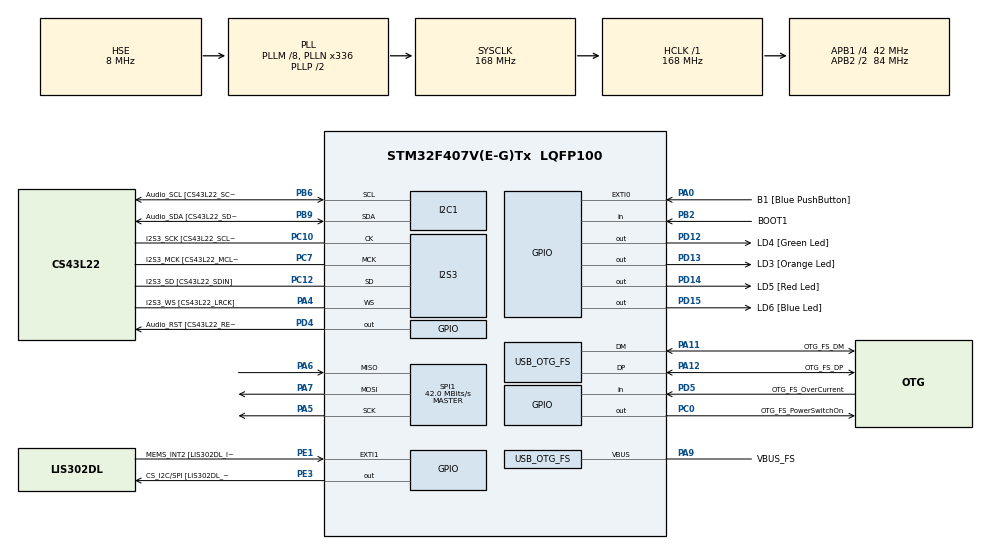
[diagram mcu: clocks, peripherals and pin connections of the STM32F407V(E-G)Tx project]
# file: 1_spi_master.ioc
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I2S3.AudioFreq-Half_Duplex_Master=I2S_AUDIOFREQ_96K
I2S3.ErrorAudioFreq=-2.34 %
I2S3.ErrorAudioFreq-Half_Duplex_Master=0.8 %
I2S3.FullDuplexMode=I2S_FULLDUPLEXMODE_DISABLE
I2S3.Instance=SPI$Index
I2S3.RealAudioFreq=93.75 KHz
I2S3.RealAudioFreq-Half_Duplex_Master=96.774 KHz
I2S3.VirtualMode=I2S_MODE_MASTER
Mcu.Family=STM32F4
Mcu.Name=STM32F407V(E-G)Tx
Mcu.Package=LQFP100
NVIC.OTG_FS_IRQn=true\:0\:0\:false\:false\:true\:true\:true
NVIC.PriorityGroup=NVIC_PRIORITYGROUP_0
PA0-WKUP.GPIO_Label=B1 [Blue PushButton]
PA0-WKUP.GPIO_ModeDefaultEXTI=GPIO_MODE_EVT_RISING
PA0-WKUP.GPIO_PuPd=GPIO_NOPULL
PA0-WKUP.Signal=GPXTI0
PA10.GPIO_Label=OTG_FS_ID
PA10.GPIO_Mode=GPIO_MODE_AF_PP
PA10.GPIO_PuPd=GPIO_NOPULL
PA10.GPIO_Speed=GPIO_SPEED_FREQ_LOW
PA10.Signal=USB_OTG_FS_ID
PA11.GPIO_Label=OTG_FS_DM
PA11.GPIO_Mode=GPIO_MODE_AF_PP
PA11.GPIO_PuPd=GPIO_NOPULL
PA11.GPIO_Speed=GPIO_SPEED_FREQ_LOW
PA11.Mode=Host_Only
PA11.Signal=USB_OTG_FS_DM
PA12.GPIO_Label=OTG_FS_DP
PA12.GPIO_Mode=GPIO_MODE_AF_PP
PA12.GPIO_PuPd=GPIO_NOPULL
PA12.GPIO_Speed=GPIO_SPEED_FREQ_LOW
PA12.Mode=Host_Only
PA12.Signal=USB_OTG_FS_DP
PA13.GPIO_Label=SWDIO
PA13.Mode=Serial_Wire
PA13.Signal=SYS_JTMS-SWDIO
PA14.GPIO_Label=SWCLK
PA14.Mode=Serial_Wire
PA14.Signal=SYS_JTCK-SWCLK
PA4.GPIO_Label=I2S3_WS [CS43L22_LRCK]
PA4.GPIO_Mode=GPIO_MODE_AF_PP
PA4.GPIO_PuPd=GPIO_NOPULL
PA4.GPIO_Speed=GPIO_SPEED_FREQ_LOW
PA4.Mode=Half_Duplex_Master
PA4.Signal=I2S3_WS
PA5.Mode=Full_Duplex_Master
PA5.Signal=SPI1_SCK
PA6.Mode=Full_Duplex_Master
PA6.Signal=SPI1_MISO
PA7.Mode=Full_Duplex_Master
PA7.Signal=SPI1_MOSI
PA9.GPIO_Label=VBUS_FS
PA9.GPIO_Mode=GPIO_MODE_INPUT
PA9.GPIO_PuPd=GPIO_NOPULL
PA9.Mode=Activate_VBUS
PA9.Signal=USB_OTG_FS_VBUS
PB10.GPIO_Label=CLK_IN [MP45DT02_CLK]
PB10.GPIO_Mode=GPIO_MODE_AF_PP
PB10.GPIO_PuPd=GPIO_NOPULL
PB10.GPIO_Speed=GPIO_SPEED_FREQ_LOW
PB10.Signal=I2S2_CK
PB2.GPIO_Label=BOOT1
PB2.GPIO_Mode=GPIO_MODE_INPUT
PB2.GPIO_PuPd=GPIO_NOPULL
PB2.Signal=GPIO_Input
PB3.GPIO_Label=SWO
PB3.Signal=SYS_JTDO-SWO
PB6.GPIO_Label=Audio_SCL [CS43L22_SCL]
PB6.GPIO_Mode=GPIO_MODE_AF_OD
PB6.GPIO_PuPd=GPIO_NOPULL
PB6.GPIO_Speed=GPIO_SPEED_FREQ_LOW
PB6.Mode=I2C
PB6.Signal=I2C1_SCL
PB9.GPIO_Label=Audio_SDA [CS43L22_SDA]
PB9.GPIO_Mode=GPIO_MODE_AF_OD
PB9.GPIO_PuPd=GPIO_NOPULL
PB9.GPIO_Speed=GPIO_SPEED_FREQ_LOW
PB9.Mode=I2C
PB9.Signal=I2C1_SDA
PC0.GPIO_Label=OTG_FS_PowerSwitchOn
PC0.GPIO_PuPd=GPIO_NOPULL
PC0.GPIO_Speed=GPIO_SPEED_FREQ_LOW
PC0.PinState=GPIO_PIN_SET
PC0.Signal=GPIO_Output
PC10.GPIO_Label=I2S3_SCK [CS43L22_SCLK]
PC10.GPIO_Mode=GPIO_MODE_AF_PP
PC10.GPIO_PuPd=GPIO_NOPULL
PC10.GPIO_Speed=GPIO_SPEED_FREQ_LOW
PC10.Mode=Half_Duplex_Master
PC10.Signal=I2S3_CK
PC12.GPIO_Label=I2S3_SD [CS43L22_SDIN]
PC12.GPIO_Mode=GPIO_MODE_AF_PP
PC12.GPIO_PuPd=GPIO_NOPULL
PC12.GPIO_Speed=GPIO_SPEED_FREQ_LOW
PC12.Mode=Half_Duplex_Master
PC12.Signal=I2S3_SD
PC14-OSC32_IN.GPIO_Label=PC14-OSC32_IN
PC14-OSC32_IN.Mode=LSE-External-Oscillator
PC14-OSC32_IN.Signal=RCC_OSC32_IN
PC15-OSC32_OUT.GPIO_Label=PC15-OSC32_OUT
PC15-OSC32_OUT.Mode=LSE-External-Oscillator
PC15-OSC32_OUT.Signal=RCC_OSC32_OUT
PC3.GPIO_Label=PDM_OUT [MP45DT02_DOUT]
PC3.GPIO_Mode=GPIO_MODE_AF_PP
PC3.GPIO_PuPd=GPIO_NOPULL
PC3.GPIO_Speed=GPIO_SPEED_FREQ_LOW
PC3.Signal=I2S2_SD
PC7.GPIO_Label=I2S3_MCK [CS43L22_MCLK]
PC7.GPIO_Mode=GPIO_MODE_AF_PP
PC7.GPIO_PuPd=GPIO_NOPULL
PC7.GPIO_Speed=GPIO_SPEED_FREQ_LOW
PC7.Mode=Master_Clock_Activated
PC7.Signal=I2S3_MCK
PD12.GPIO_Label=LD4 [Green Led]
PD12.GPIO_PuPd=GPIO_NOPULL
PD12.GPIO_Speed=GPIO_SPEED_FREQ_LOW
PD12.Signal=GPIO_Output
PD13.GPIO_Label=LD3 [Orange Led]
PD13.GPIO_PuPd=GPIO_NOPULL
PD13.GPIO_Speed=GPIO_SPEED_FREQ_LOW
PD13.Signal=GPIO_Output
PD14.GPIO_Label=LD5 [Red Led]
PD14.GPIO_PuPd=GPIO_NOPULL
PD14.GPIO_Speed=GPIO_SPEED_FREQ_LOW
PD14.Signal=GPIO_Output
PD15.GPIO_Label=LD6 [Blue Led]
PD15.GPIO_PuPd=GPIO_NOPULL
PD15.GPIO_Speed=GPIO_SPEED_FREQ_LOW
PD15.Signal=GPIO_Output
PD4.GPIO_Label=Audio_RST [CS43L22_RESET]
PD4.GPIO_PuPd=GPIO_NOPULL
PD4.GPIO_Speed=GPIO_SPEED_FREQ_LOW
PD4.Signal=GPIO_Output
PD5.GPIO_Label=OTG_FS_OverCurrent
PD5.GPIO_Mode=GPIO_MODE_INPUT
PD5.GPIO_PuPd=GPIO_NOPULL
PD5.Signal=GPIO_Input
PE1.GPIO_Label=MEMS_INT2 [LIS302DL_INT2]
PE1.GPIO_ModeDefaultEXTI=GPIO_MODE_EVT_RISING
PE1.GPIO_PuPd=GPIO_NOPULL
PE1.Signal=GPXTI1
PE3.GPIO_Label=CS_I2C/SPI [LIS302DL_CS_I2C/SPI]
PE3.GPIO_PuPd=GPIO_NOPULL
PE3.GPIO_Speed=GPIO_SPEED_FREQ_LOW
PE3.Signal=GPIO_Output
PH0-OSC_IN.GPIO_Label=PH0-OSC_IN
PH0-OSC_IN.Mode=HSE-External-Oscillator
PH0-OSC_IN.Signal=RCC_OSC_IN
PH1-OSC_OUT.GPIO_Label=PH1-OSC_OUT
PH1-OSC_OUT.Mode=HSE-External-Oscillator
PH1-OSC_OUT.Signal=RCC_OSC_OUT
ProjectManager.HeapSize=0x200
ProjectManager.StackSize=0x400
ProjectManager.TargetToolchain=SW4STM32
RCC.48MHZClocksFreq_Value=48000000
RCC.AHBFreq_Value=168000000
RCC.APB1CLKDivider=RCC_HCLK_DIV4
RCC.APB1Freq_Value=42000000
RCC.APB1TimFreq_Value=84000000
RCC.APB2CLKDivider=RCC_HCLK_DIV2
RCC.APB2Freq_Value=84000000
RCC.APB2TimFreq_Value=168000000
RCC.CortexFreq_Value=168000000
RCC.HCLKFreq_Value=168000000
RCC.HSE_VALUE=8000000
RCC.HSI_VALUE=16000000
RCC.PLLM=8
RCC.PLLN=336
RCC.PLLQ=7
RCC.SYSCLKFreq_VALUE=168000000
RCC.SYSCLKSource=RCC_SYSCLKSOURCE_PLLCLK
RCC.VCOOutputFreq_Value=336000000
SPI1.CalculateBaudRate=42.0 MBits/s
SPI1.Direction=SPI_DIRECTION_2LINES
SPI1.Mode=SPI_MODE_MASTER
SPI1.VirtualType=VM_MASTER
USB_HOST.BSP.number=1
USB_HOST.USBH_HandleTypeDef-CDC_FS=hUsbHostFS
USB_HOST.VirtualModeFS=Cdc
USB_HOST0.BSP.STBoard=false
USB_HOST0.BSP.api=Unknown
USB_HOST0.BSP.i2caddr=0
USB_HOST0.BSP.i2creg=0
USB_HOST0.BSP.instance=PC0
USB_HOST0.BSP.ip=GPIO
USB_HOST0.BSP.mode=Output
USB_HOST0.BSP.name=Drive_VBUS_FS
USB_HOST0.BSP.solution=PC0
USB_OTG_FS.VirtualMode=Host_Only
USB_OTG_FS.phy_itface=HCD_PHY_EMBEDDED
VP_USB_HOST_VS_USB_HOST_CDC_FS.Mode=CDC_FS
board=STM32F407G-DISC1

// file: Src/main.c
/* USER CODE BEGIN Header */
/**
  ******************************************************************************
  * @file           : main.c
  * @brief          : Main program body
  ******************************************************************************
  * @attention
  *
  * <h2><center>&copy; Copyright (c) 2019 STMicroelectronics.
  * All rights reserved.</center></h2>
  *
  * This software component is licensed by ST under Ultimate Liberty license
  * SLA0044, the "License"; You may not use this file except in compliance with
  * the License. You may obtain a copy of the License at:
  *                             www.st.com/SLA0044
  *
  ******************************************************************************
  */
/* USER CODE END Header */

#include "main.h"
#include "usb_host.h"

I2C_HandleTypeDef hi2c1;

I2S_HandleTypeDef hi2s3;

SPI_HandleTypeDef hspi1;

void SystemClock_Config(void);
static void MX_GPIO_Init(void);
static void MX_I2C1_Init(void);
static void MX_I2S3_Init(void);
static void MX_SPI1_Init(void);
void MX_USB_HOST_Process(void);

int main(void)
{

  /* MCU Configuration--------------------------------------------------------*/

  /* Reset of all peripherals, Initializes the Flash interface and the Systick. */
  HAL_Init();

  /* Configure the system clock */
  SystemClock_Config();

  /* Initialize all configured peripherals */
  MX_GPIO_Init();
  MX_I2C1_Init();
  MX_I2S3_Init();
  MX_SPI1_Init();
  MX_USB_HOST_Init();
  /* USER CODE BEGIN 2 */
  uint8_t pData = 0;
  uint16_t Size = 1;
  uint32_t Timeout = 10;
  uint8_t pin_status = 0;
  uint8_t control_variable = 0;

  /* USER CODE END 2 */

  /* Infinite loop */
  while (1)
  {
    MX_USB_HOST_Process();

    /* USER CODE BEGIN 3 */

    pin_status = HAL_GPIO_ReadPin(GPIOA, GPIO_PIN_0);

    if(pin_status == GPIO_PIN_RESET){
    	pData = 0;
    	HAL_SPI_Transmit(&hspi1, &pData, Size, Timeout);
    	HAL_GPIO_WritePin(GPIOD, GPIO_PIN_12, GPIO_PIN_SET);
    	HAL_GPIO_WritePin(GPIOD, GPIO_PIN_14, GPIO_PIN_RESET);
    }
    else if(pin_status == GPIO_PIN_SET){
    	pData = 0xAA;
    	HAL_SPI_Transmit(&hspi1, &pData, Size, Timeout);
    	HAL_GPIO_WritePin(GPIOD, GPIO_PIN_14, GPIO_PIN_SET);
    	HAL_GPIO_WritePin(GPIOD, GPIO_PIN_12, GPIO_PIN_RESET);
    }

    /*
    HAL_GPIO_TogglePin(GPIOD, GPIO_PIN_12);
    HAL_Delay(500);
    */
    HAL_GPIO_TogglePin(GPIOD, GPIO_PIN_13);
    HAL_Delay(500);
    HAL_GPIO_TogglePin(GPIOD, GPIO_PIN_13);
    /*
    HAL_GPIO_TogglePin(GPIOD, GPIO_PIN_14);
    HAL_Delay(500);
    HAL_GPIO_TogglePin(GPIOD, GPIO_PIN_15);
    HAL_Delay(500);
    */
  }
  /* USER CODE END 3 */
}

void SystemClock_Config(void)
{
  RCC_OscInitTypeDef RCC_OscInitStruct = {0};
  RCC_ClkInitTypeDef RCC_ClkInitStruct = {0};
  RCC_PeriphCLKInitTypeDef PeriphClkInitStruct = {0};

  /** Configure the main internal regulator output voltage
  */
  __HAL_RCC_PWR_CLK_ENABLE();
  __HAL_PWR_VOLTAGESCALING_CONFIG(PWR_REGULATOR_VOLTAGE_SCALE1);
  /** Initializes the CPU, AHB and APB busses clocks
  */
  RCC_OscInitStruct.OscillatorType = RCC_OSCILLATORTYPE_HSE;
  RCC_OscInitStruct.HSEState = RCC_HSE_ON;
  RCC_OscInitStruct.PLL.PLLState = RCC_PLL_ON;
  RCC_OscInitStruct.PLL.PLLSource = RCC_PLLSOURCE_HSE;
  RCC_OscInitStruct.PLL.PLLM = 8;
  RCC_OscInitStruct.PLL.PLLN = 336;
  RCC_OscInitStruct.PLL.PLLP = RCC_PLLP_DIV2;
  RCC_OscInitStruct.PLL.PLLQ = 7;
  if (HAL_RCC_OscConfig(&RCC_OscInitStruct) != HAL_OK)
  {
    Error_Handler();
  }
  /** Initializes the CPU, AHB and APB busses clocks
  */
  RCC_ClkInitStruct.ClockType = RCC_CLOCKTYPE_HCLK|RCC_CLOCKTYPE_SYSCLK
                              |RCC_CLOCKTYPE_PCLK1|RCC_CLOCKTYPE_PCLK2;
  RCC_ClkInitStruct.SYSCLKSource = RCC_SYSCLKSOURCE_PLLCLK;
  RCC_ClkInitStruct.AHBCLKDivider = RCC_SYSCLK_DIV1;
  RCC_ClkInitStruct.APB1CLKDivider = RCC_HCLK_DIV4;
  RCC_ClkInitStruct.APB2CLKDivider = RCC_HCLK_DIV2;

  if (HAL_RCC_ClockConfig(&RCC_ClkInitStruct, FLASH_LATENCY_5) != HAL_OK)
  {
    Error_Handler();
  }
  PeriphClkInitStruct.PeriphClockSelection = RCC_PERIPHCLK_I2S;
  PeriphClkInitStruct.PLLI2S.PLLI2SN = 192;
  PeriphClkInitStruct.PLLI2S.PLLI2SR = 2;
  if (HAL_RCCEx_PeriphCLKConfig(&PeriphClkInitStruct) != HAL_OK)
  {
    Error_Handler();
  }
}

static void MX_I2C1_Init(void)
{

  hi2c1.Instance = I2C1;
  hi2c1.Init.ClockSpeed = 100000;
  hi2c1.Init.DutyCycle = I2C_DUTYCYCLE_2;
  hi2c1.Init.OwnAddress1 = 0;
  hi2c1.Init.AddressingMode = I2C_ADDRESSINGMODE_7BIT;
  hi2c1.Init.DualAddressMode = I2C_DUALADDRESS_DISABLE;
  hi2c1.Init.OwnAddress2 = 0;
  hi2c1.Init.GeneralCallMode = I2C_GENERALCALL_DISABLE;
  hi2c1.Init.NoStretchMode = I2C_NOSTRETCH_DISABLE;
  if (HAL_I2C_Init(&hi2c1) != HAL_OK)
  {
    Error_Handler();
  }

}

static void MX_I2S3_Init(void)
{

  hi2s3.Instance = SPI3;
  hi2s3.Init.Mode = I2S_MODE_MASTER_TX;
  hi2s3.Init.Standard = I2S_STANDARD_PHILIPS;
  hi2s3.Init.DataFormat = I2S_DATAFORMAT_16B;
  hi2s3.Init.MCLKOutput = I2S_MCLKOUTPUT_ENABLE;
  hi2s3.Init.AudioFreq = I2S_AUDIOFREQ_96K;
  hi2s3.Init.CPOL = I2S_CPOL_LOW;
  hi2s3.Init.ClockSource = I2S_CLOCK_PLL;
  hi2s3.Init.FullDuplexMode = I2S_FULLDUPLEXMODE_DISABLE;
  if (HAL_I2S_Init(&hi2s3) != HAL_OK)
  {
    Error_Handler();
  }

}

static void MX_SPI1_Init(void)
{

  /* USER CODE BEGIN SPI1_Init 0 */
	__HAL_RCC_SPI1_CLK_ENABLE();

  /* USER CODE END SPI1_Init 0 */

  /* SPI1 parameter configuration*/
  hspi1.Instance = SPI1;
  hspi1.Init.Mode = SPI_MODE_MASTER; //denna är nu 0x104, bit 8 (SSI) är därmed 1, den ska vara 0 i master och slave
  hspi1.Init.Direction = SPI_DIRECTION_2LINES;
  hspi1.Init.DataSize = SPI_DATASIZE_8BIT;
  hspi1.Init.CLKPolarity = SPI_POLARITY_LOW;
  hspi1.Init.CLKPhase = SPI_PHASE_1EDGE;
  hspi1.Init.NSS = SPI_NSS_SOFT;
  hspi1.Init.BaudRatePrescaler = SPI_BAUDRATEPRESCALER_2;
  hspi1.Init.FirstBit = SPI_FIRSTBIT_MSB;
  hspi1.Init.TIMode = SPI_TIMODE_DISABLE;
  hspi1.Init.CRCCalculation = SPI_CRCCALCULATION_DISABLE;
  hspi1.Init.CRCPolynomial = 10;
  if (HAL_SPI_Init(&hspi1) != HAL_OK)
  {
    Error_Handler();
  }

}

static void MX_GPIO_Init(void)
{
  GPIO_InitTypeDef GPIO_InitStruct = {0};

  /* GPIO Ports Clock Enable */
  __HAL_RCC_GPIOE_CLK_ENABLE();
  __HAL_RCC_GPIOC_CLK_ENABLE();
  __HAL_RCC_GPIOH_CLK_ENABLE();
  __HAL_RCC_GPIOA_CLK_ENABLE();
  __HAL_RCC_GPIOB_CLK_ENABLE();
  __HAL_RCC_GPIOD_CLK_ENABLE();

  /*Configure GPIO pin Output Level */
  HAL_GPIO_WritePin(CS_I2C_SPI_GPIO_Port, CS_I2C_SPI_Pin, GPIO_PIN_RESET);

  /*Configure GPIO pin Output Level */
  HAL_GPIO_WritePin(OTG_FS_PowerSwitchOn_GPIO_Port, OTG_FS_PowerSwitchOn_Pin, GPIO_PIN_SET);

  /*Configure GPIO pin Output Level */
  HAL_GPIO_WritePin(GPIOD, LD4_Pin|LD3_Pin|LD5_Pin|LD6_Pin
                          |Audio_RST_Pin, GPIO_PIN_RESET);

  /*Configure GPIO pin : CS_I2C_SPI_Pin */
  GPIO_InitStruct.Pin = CS_I2C_SPI_Pin;
  GPIO_InitStruct.Mode = GPIO_MODE_OUTPUT_PP;
  GPIO_InitStruct.Pull = GPIO_NOPULL;
  GPIO_InitStruct.Speed = GPIO_SPEED_FREQ_LOW;
  HAL_GPIO_Init(CS_I2C_SPI_GPIO_Port, &GPIO_InitStruct);

  /*Configure GPIO pin : OTG_FS_PowerSwitchOn_Pin */
  GPIO_InitStruct.Pin = OTG_FS_PowerSwitchOn_Pin;
  GPIO_InitStruct.Mode = GPIO_MODE_OUTPUT_PP;
  GPIO_InitStruct.Pull = GPIO_NOPULL;
  GPIO_InitStruct.Speed = GPIO_SPEED_FREQ_LOW;
  HAL_GPIO_Init(OTG_FS_PowerSwitchOn_GPIO_Port, &GPIO_InitStruct);

  /*Configure GPIO pin : PDM_OUT_Pin */
  //GPIO_InitStruct.Pin = PDM_OUT_Pin;
  /*
  GPIO_InitStruct.Mode = GPIO_MODE_AF_PP;
  GPIO_InitStruct.Pull = GPIO_NOPULL;
  GPIO_InitStruct.Speed = GPIO_SPEED_FREQ_LOW;
  GPIO_InitStruct.Alternate = GPIO_AF5_SPI1;
  HAL_GPIO_Init(PDM_OUT_GPIO_Port, &GPIO_InitStruct);
  //USER CODE
  GPIO_InitStruct.Pin = 0x05; //Pin 5 Port A
  HAL_GPIO_Init(GPIOA, &GPIO_InitStruct);

  GPIO_InitStruct.Pin = 0x06; //Pin 6 Port A
  HAL_GPIO_Init(GPIOA, &GPIO_InitStruct);

  GPIO_InitStruct.Pin = 0x07; //Pin 7 Port A
  HAL_GPIO_Init(GPIOA, &GPIO_InitStruct);
  */
  //USER CODE END

  /*Configure GPIO pin : B1_Pin */
  GPIO_InitStruct.Pin = B1_Pin;
  GPIO_InitStruct.Mode = GPIO_MODE_EVT_RISING;
  GPIO_InitStruct.Pull = GPIO_NOPULL;
  HAL_GPIO_Init(B1_GPIO_Port, &GPIO_InitStruct);

  /*Configure GPIO pin : BOOT1_Pin */
  GPIO_InitStruct.Pin = BOOT1_Pin;
  GPIO_InitStruct.Mode = GPIO_MODE_INPUT;
  GPIO_InitStruct.Pull = GPIO_NOPULL;
  HAL_GPIO_Init(BOOT1_GPIO_Port, &GPIO_InitStruct);

  /*Configure GPIO pin : CLK_IN_Pin */
  GPIO_InitStruct.Pin = CLK_IN_Pin;
  GPIO_InitStruct.Mode = GPIO_MODE_AF_PP;
  GPIO_InitStruct.Pull = GPIO_NOPULL;
  GPIO_InitStruct.Speed = GPIO_SPEED_FREQ_LOW;
  GPIO_InitStruct.Alternate = GPIO_AF5_SPI2;
  HAL_GPIO_Init(CLK_IN_GPIO_Port, &GPIO_InitStruct);

  /*Configure GPIO pins : LD4_Pin LD3_Pin LD5_Pin LD6_Pin
                           Audio_RST_Pin */
  GPIO_InitStruct.Pin = LD4_Pin|LD3_Pin|LD5_Pin|LD6_Pin
                          |Audio_RST_Pin;
  GPIO_InitStruct.Mode = GPIO_MODE_OUTPUT_PP;
  GPIO_InitStruct.Pull = GPIO_NOPULL;
  GPIO_InitStruct.Speed = GPIO_SPEED_FREQ_LOW;
  HAL_GPIO_Init(GPIOD, &GPIO_InitStruct);

  /*Configure GPIO pin : OTG_FS_OverCurrent_Pin */
  GPIO_InitStruct.Pin = OTG_FS_OverCurrent_Pin;
  GPIO_InitStruct.Mode = GPIO_MODE_INPUT;
  GPIO_InitStruct.Pull = GPIO_NOPULL;
  HAL_GPIO_Init(OTG_FS_OverCurrent_GPIO_Port, &GPIO_InitStruct);

  /*Configure GPIO pin : MEMS_INT2_Pin */
  GPIO_InitStruct.Pin = MEMS_INT2_Pin;
  GPIO_InitStruct.Mode = GPIO_MODE_EVT_RISING;
  GPIO_InitStruct.Pull = GPIO_NOPULL;
  HAL_GPIO_Init(MEMS_INT2_GPIO_Port, &GPIO_InitStruct);

}

void Error_Handler(void)
{
}

/************************ (C) COPYRIGHT STMicroelectronics *****END OF FILE****/
